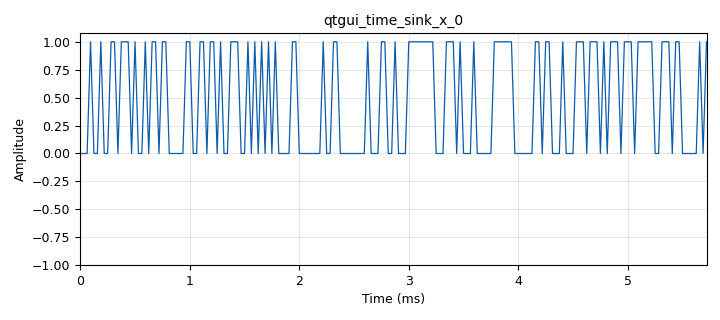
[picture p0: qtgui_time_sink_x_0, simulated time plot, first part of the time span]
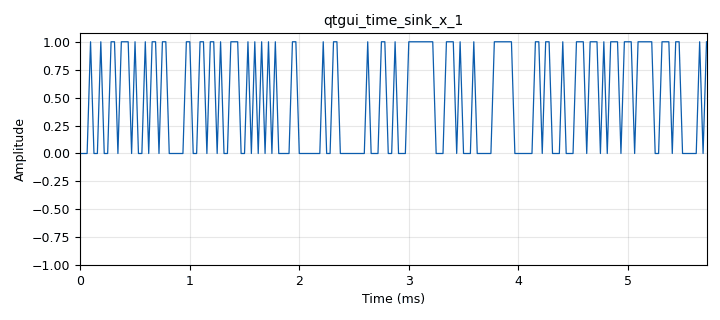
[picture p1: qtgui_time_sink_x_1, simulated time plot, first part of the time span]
options:
  parameters:
    generate_options: qt_gui
    id: tut0
    output_language: python
    title: Not titled yet
  states: {}

blocks:
- name: frequency
  id: variable_qtgui_range
  parameters:
    label: frequency
    rangeType: int
    start: '-16000'
    step: '100'
    stop: '16000'
    value: '0'
  states: {}
- name: frequency
  id: variable_qtgui_chooser
  parameters:
    label: frequency
    label0: 'Frequency: 0'
    label1: 'Frequency: 1000'
    label2: 'frequency: 2000'
    num_opts: '3'
    option0: '0'
    option1: '1000'
    option2: '2000'
    type: int
    value: '0'
  states: {state: disabled}
- name: samp_rate
  id: variable
  parameters:
    value: '32000'
  states: {}
- name: analog_random_source_x_0
  id: analog_random_source_x
  parameters:
    max: '2'
    min: '0'
    num_samps: '1000'
    repeat: 'True'
    type: byte
  states: {}
- name: analog_sig_source_x_0
  id: analog_sig_source_x
  parameters:
    amp: '1'
    freq: frequency
    offset: '0'
    phase: '0'
    samp_rate: samp_rate
    type: float
    waveform: analog.GR_COS_WAVE
  states: {state: disabled}
- name: blocks_char_to_float_0
  id: blocks_char_to_float
  parameters:
    scale: '1'
  states: {}
- name: blocks_char_to_float_1
  id: blocks_char_to_float
  parameters:
    scale: '1'
  states: {}
- name: blocks_pack_k_bits_bb_0
  id: blocks_pack_k_bits_bb
  parameters:
    k: '4'
  states: {}
- name: blocks_throttle_0
  id: blocks_throttle
  parameters:
    samples_per_second: samp_rate
    type: byte
  states: {}
- name: blocks_unpack_k_bits_bb_0
  id: blocks_unpack_k_bits_bb
  parameters:
    k: '4'
  states: {}
- name: qtgui_freq_sink_x_0
  id: qtgui_freq_sink_x
  parameters:
    bw: samp_rate
    fc: '0'
    fftsize: '1024'
    type: float
  states: {state: disabled}
- name: qtgui_histogram_sink_x_0
  id: qtgui_histogram_sink_x
  parameters:
    bins: '1024'
    name: '"1 bit"'
    size: '1024'
    type: float
    xmax: '16'
    xmin: '-1'
  states: {state: disabled}
- name: qtgui_histogram_sink_x_1
  id: qtgui_histogram_sink_x
  parameters:
    bins: '1024'
    name: '"4 bits"'
    size: '1024'
    type: float
    xmax: '16'
    xmin: '-1'
  states: {state: disabled}
- name: qtgui_time_sink_x_0
  id: qtgui_time_sink_x
  parameters:
    size: '1024'
    srate: samp_rate
    type: float
  states: {}
- name: qtgui_time_sink_x_1
  id: qtgui_time_sink_x
  parameters:
    size: '1024'
    srate: samp_rate
    type: float
  states: {}

connections:
- [analog_random_source_x_0, '0', blocks_char_to_float_1, '0']
- [analog_random_source_x_0, '0', blocks_throttle_0, '0']
- [blocks_char_to_float_0, '0', qtgui_time_sink_x_0, '0']
- [blocks_char_to_float_1, '0', qtgui_time_sink_x_1, '0']
- [blocks_pack_k_bits_bb_0, '0', blocks_unpack_k_bits_bb_0, '0']
- [blocks_throttle_0, '0', blocks_pack_k_bits_bb_0, '0']
- [blocks_unpack_k_bits_bb_0, '0', blocks_char_to_float_0, '0']

metadata:
  file_format: 1
